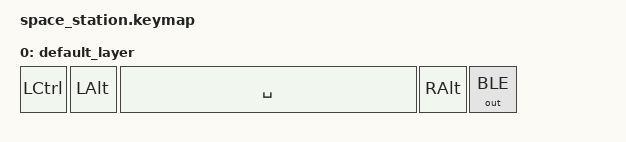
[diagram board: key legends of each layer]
/*
 * Copyright (c) 2024 The ZMK Contributors
 *
 * SPDX-License-Identifier: MIT
 */

#include <behaviors.dtsi>
#include <dt-bindings/zmk/keys.h>
#include <dt-bindings/zmk/outputs.h>

/ {
    keymap {
        compatible = "zmk,keymap";

        default_layer {
            bindings = <
                &kp LCTRL    &kp LALT    &kp SPACE    &kp RALT    &out OUT_BLE
            >;
        };
    };
};
